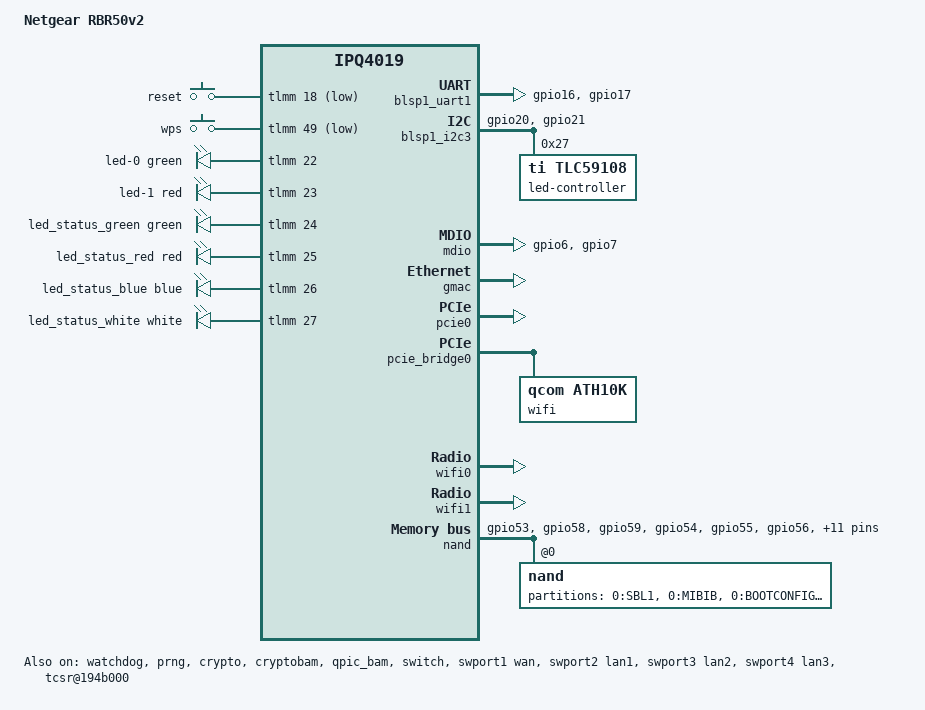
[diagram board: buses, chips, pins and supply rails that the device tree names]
// SPDX-License-Identifier: GPL-2.0-or-later OR MIT
//
// Device Tree Source for Netgear Orbi RBR50 V2 (NAND)
//
// Based on Netgear RBR20 (NAND Orbi) by OpenWrt community.
// V2 uses 512MB SPI NAND (Macronix MX30LF4G18AC-TI) instead of V1's eMMC.
// Key differences from V1: NAND flash, LED GPIOs relocated to 22-27,
// no I2C LED controller on GPIO 58/59 (now QPIC NAND bus).
//
// Hardware: IPQ4019 4x Cortex-A7, 512MB RAM, 512MB NAND
// WiFi: 2x IPQ4019 (2.4GHz + 5GHz) + QCA9984 PCIe (5GHz 4x4 backhaul)
// Ethernet: WAN + 3x LAN (QCA8075 switch)
// GPIO dump source: stock firmware 3.14.77 (2024-09-27)

#include "qcom-ipq4019.dtsi"
#include <dt-bindings/gpio/gpio.h>
#include <dt-bindings/input/input.h>
#include <dt-bindings/soc/qcom,tcsr.h>
#include <dt-bindings/leds/common.h>

/ {
	model = "Netgear RBR50v2";
	compatible = "netgear,rbr50v2";

	chosen {
		stdout-path = "serial0:115200n8";
	};

	aliases {
		serial0 = &blsp1_uart1;
		led-boot = &led_status_white;
		led-failsafe = &led_status_red;
		led-running = &led_status_green;
		led-upgrade = &led_status_blue;
		ethernet0 = &gmac;
		label-mac-device = &gmac;
	};

	keys {
		compatible = "gpio-keys";

		reset {
			label = "reset";
			gpios = <&tlmm 18 GPIO_ACTIVE_LOW>;
			linux,code = <KEY_RESTART>;
		};

		wps {
			label = "wps";
			gpios = <&tlmm 49 GPIO_ACTIVE_LOW>;
			linux,code = <KEY_WPS_BUTTON>;
		};
	};

	leds {
		compatible = "gpio-leds";

		/* GPIOs 22-27 confirmed from V2 stock firmware GPIO dump */

		led-0 {
			function = LED_FUNCTION_POWER;
			color = <LED_COLOR_ID_GREEN>;
			gpios = <&tlmm 22 GPIO_ACTIVE_HIGH>;
			default-state = "on";
		};

		led-1 {
			function = LED_FUNCTION_POWER;
			color = <LED_COLOR_ID_RED>;
			gpios = <&tlmm 23 GPIO_ACTIVE_HIGH>;
			panic-indicator;
		};

		led_status_green: led-2 {
			function = LED_FUNCTION_STATUS;
			color = <LED_COLOR_ID_GREEN>;
			gpios = <&tlmm 24 GPIO_ACTIVE_HIGH>;
		};

		led_status_red: led-3 {
			function = LED_FUNCTION_STATUS;
			color = <LED_COLOR_ID_RED>;
			gpios = <&tlmm 25 GPIO_ACTIVE_HIGH>;
		};

		led_status_blue: led-4 {
			function = LED_FUNCTION_STATUS;
			color = <LED_COLOR_ID_BLUE>;
			gpios = <&tlmm 26 GPIO_ACTIVE_HIGH>;
		};

		led_status_white: led-5 {
			function = LED_FUNCTION_STATUS;
			color = <LED_COLOR_ID_WHITE>;
			gpios = <&tlmm 27 GPIO_ACTIVE_HIGH>;
		};
	};

	soc {
		counter@4a1000 {
			compatible = "qcom,qca-gcnt";
			reg = <0x4a1000 0x4>;
		};

		tcsr@1949000 {
			compatible = "qcom,tcsr";
			reg = <0x1949000 0x100>;
			qcom,wifi_glb_cfg = <TCSR_WIFI_GLB_CFG>;
		};

		tcsr@194b000 {
			status = "okay";

			compatible = "qcom,tcsr";
			reg = <0x194b000 0x100>;
			qcom,usb-hsphy-mode-select = <TCSR_USB_HSPHY_HOST_MODE>;
		};

		ess_tcsr@1953000 {
			compatible = "qcom,tcsr";
			reg = <0x1953000 0x1000>;
			qcom,ess-interface-select = <TCSR_ESS_PSGMII>;
		};

		tcsr@1957000 {
			compatible = "qcom,tcsr";
			reg = <0x1957000 0x100>;
			qcom,wifi_noc_memtype_m0_m2 = <TCSR_WIFI_NOC_MEMTYPE_M0_M2>;
		};
	};
};

&watchdog {
	status = "okay";
};

&prng {
	status = "okay";
};

&crypto {
	status = "okay";
};

&cryptobam {
	status = "okay";
};

&blsp_dma {
	status = "okay";
};

&qpic_bam {
	status = "okay";
};

&tlmm {
	mdio_pins: mdio-pinmux {
		mux_mdio {
			pins = "gpio6";
			function = "mdio";
			bias-pull-up;
		};

		mux_mdc {
			pins = "gpio7";
			function = "mdc";
			bias-pull-up;
		};
	};

	serial_pins: serial-pinmux {
		function = "blsp_uart0";
		pins = "gpio16", "gpio17";
		bias-disable;
	};

	i2c_0_pins: i2c-0-pinmux {
		pins = "gpio20", "gpio21";
		function = "blsp_i2c0";
		bias-disable;
	};

	nand_pins: nand-pins {
		pullups {
			pins = "gpio53", "gpio58", "gpio59";
			function = "qpic";
			bias-pull-up;
		};

		pulldowns {
			pins = "gpio54", "gpio55", "gpio56",
				"gpio57", "gpio60", "gpio61",
				"gpio62", "gpio63", "gpio64",
				"gpio65", "gpio66", "gpio67",
				"gpio68", "gpio69";
			function = "qpic";
			bias-pull-down;
		};
	};
};

&blsp1_uart1 {
	status = "okay";
	pinctrl-0 = <&serial_pins>;
	pinctrl-names = "default";
};

&blsp1_i2c3 {
	status = "okay";
	pinctrl-0 = <&i2c_0_pins>;
	pinctrl-names = "default";

	/* TLC59208F 8-channel LED driver — controls the top ring LED.
	 * Use tlc59108 compatible (register-compatible, in kernel match table).
	 */
	led-controller@27 {
		compatible = "ti,tlc59108";
		reg = <0x27>;
		#address-cells = <1>;
		#size-cells = <0>;

		led_ring_green: led@0 {
			reg = <0x0>;
			function = LED_FUNCTION_INDICATOR;
			color = <LED_COLOR_ID_GREEN>;
		};

		led_ring_red: led@1 {
			reg = <0x1>;
			function = LED_FUNCTION_INDICATOR;
			color = <LED_COLOR_ID_RED>;
		};

		led_ring_blue: led@2 {
			reg = <0x2>;
			function = LED_FUNCTION_INDICATOR;
			color = <LED_COLOR_ID_BLUE>;
		};

		led@3 {
			reg = <0x3>;
			function = LED_FUNCTION_INDICATOR;
			color = <LED_COLOR_ID_WHITE>;
		};

		led@4 {
			reg = <0x4>;
			label = "ring:chan4";
		};

		led@5 {
			reg = <0x5>;
			label = "ring:chan5";
		};

		led@6 {
			reg = <0x6>;
			label = "ring:chan6";
		};

		led@7 {
			reg = <0x7>;
			label = "ring:chan7";
		};
	};
};

&mdio {
	status = "okay";
	pinctrl-0 = <&mdio_pins>;
	pinctrl-names = "default";
};

&gmac {
	status = "okay";

	nvmem-cell-names = "mac-address";
	nvmem-cells = <&mac_address_lan 0>;
};

&switch {
	status = "okay";
};

/* V2 has same port layout as V1: WAN + 3x LAN */
&swport1 {
	status = "okay";

	label = "wan";
	nvmem-cell-names = "mac-address";
	nvmem-cells = <&mac_address_wan 0>;
};

&swport2 {
	status = "okay";

	label = "lan1";
};

&swport3 {
	status = "okay";

	label = "lan2";
};

&swport4 {
	status = "okay";

	label = "lan3";
};

&ethphy4 {
	status = "disabled";
};

&usb3_hs_phy {
	status = "disabled";
};

&usb3 {
	status = "disabled";
};

&usb2_hs_phy {
	status = "disabled";
};

&usb2 {
	status = "disabled";
};

&pcie0 {
	status = "okay";

	perst-gpios = <&tlmm 38 GPIO_ACTIVE_LOW>;
	wake-gpios = <&tlmm 50 GPIO_ACTIVE_LOW>;
};

&pcie_bridge0 {
	wifi@0,0 {
		compatible = "qcom,ath10k";
		reg = <0x00010000 0 0 0 0>;
		/* QCA9984 4x4 — upper 5GHz for backhaul (same as V1) */
		ieee80211-freq-limit = <5470000 5875000>;
		nvmem-cell-names = "pre-calibration", "mac-address";
		nvmem-cells = <&precal_art_9000>, <&mac_address_wlan_2nd5g 0>;
		qcom,ath10k-calibration-variant = "Netgear-Orbi-Pro-SRK60";
	};
};

&wifi0 {
	status = "okay";
	/* IPQ4019 2.4GHz */
	nvmem-cell-names = "pre-calibration", "mac-address";
	nvmem-cells = <&precal_art_1000>, <&mac_address_lan 0>;
	qcom,ath10k-calibration-variant = "Netgear-Orbi-Pro-SRK60";
};

&wifi1 {
	status = "okay";
	/* IPQ4019 5GHz — lower band, client access */
	ieee80211-freq-limit = <5170000 5350000>;
	nvmem-cell-names = "pre-calibration", "mac-address";
	nvmem-cells = <&precal_art_5000>, <&mac_address_wlan_5g 0>;
	qcom,ath10k-calibration-variant = "Netgear-Orbi-Pro-SRK60";
};

/*
 * NAND partition layout — computed from V2 stock /proc/mtd
 * 512MB NAND, 128KB erase blocks, 2048B page size
 *
 * OpenWrt uses the stock "firmware" partition area (50MB):
 * kernel (7MB) + ubi (43MB within firmware partition)
 * Note: firmware2 + reserved areas can be reclaimed later
 */
&nand {
	pinctrl-0 = <&nand_pins>;
	pinctrl-names = "default";
	status = "okay";

	nand@0 {
		partitions {
			compatible = "fixed-partitions";
			#address-cells = <1>;
			#size-cells = <1>;

			partition@0 {
				label = "0:SBL1";
				reg = <0x00000000 0x00100000>;
				read-only;
			};

			partition@100000 {
				label = "0:MIBIB";
				reg = <0x00100000 0x00100000>;
				read-only;
			};

			partition@200000 {
				label = "0:BOOTCONFIG";
				reg = <0x00200000 0x00100000>;
				read-only;
			};

			partition@300000 {
				label = "0:QSEE";
				reg = <0x00300000 0x00100000>;
				read-only;
			};

			partition@400000 {
				label = "0:QSEE_1";
				reg = <0x00400000 0x00100000>;
				read-only;
			};

			partition@500000 {
				label = "0:CDT";
				reg = <0x00500000 0x00080000>;
				read-only;
			};

			partition@580000 {
				label = "0:CDT_1";
				reg = <0x00580000 0x00080000>;
				read-only;
			};

			partition@600000 {
				label = "0:BOOTCONFIG1";
				reg = <0x00600000 0x00080000>;
				read-only;
			};

			partition@680000 {
				label = "0:APPSBLENV";
				reg = <0x00680000 0x00080000>;
			};

			partition@700000 {
				label = "0:APPSBL";
				reg = <0x00700000 0x00200000>;
				read-only;
			};

			partition@900000 {
				label = "0:APPSBL_1";
				reg = <0x00900000 0x00200000>;
				read-only;
			};

			partition@b00000 {
				label = "0:ART";
				reg = <0x00b00000 0x00080000>;
				read-only;

				nvmem-layout {
					compatible = "fixed-layout";
					#address-cells = <1>;
					#size-cells = <1>;

					precal_art_1000: precal@1000 {
						reg = <0x1000 0x2f20>;
					};

					precal_art_5000: precal@5000 {
						reg = <0x5000 0x2f20>;
					};

					precal_art_9000: precal@9000 {
						reg = <0x9000 0x2f20>;
					};
				};
			};

			partition@b80000 {
				label = "0:ART.bak";
				reg = <0x00b80000 0x00080000>;
				read-only;
			};

			partition@c00000 {
				label = "config";
				reg = <0x00c00000 0x00100000>;
				read-only;
			};

			partition@d00000 {
				label = "boarddata1";
				reg = <0x00d00000 0x00080000>;
				read-only;

				nvmem-layout {
					compatible = "fixed-layout";
					#address-cells = <1>;
					#size-cells = <1>;

					mac_address_lan: macaddr@0 {
						compatible = "mac-base";
						reg = <0x0 0x6>;
						#nvmem-cell-cells = <1>;
					};

					mac_address_wan: macaddr@6 {
						compatible = "mac-base";
						reg = <0x6 0x6>;
						#nvmem-cell-cells = <1>;
					};

					mac_address_wlan_5g: macaddr@c {
						compatible = "mac-base";
						reg = <0xc 0x6>;
						#nvmem-cell-cells = <1>;
					};

					mac_address_wlan_2nd5g: macaddr@12 {
						compatible = "mac-base";
						reg = <0x12 0x6>;
						#nvmem-cell-cells = <1>;
					};
				};
			};

			partition@d80000 {
				label = "boarddata2";
				reg = <0x00d80000 0x00040000>;
				read-only;
			};

			partition@dc0000 {
				label = "pot";
				reg = <0x00dc0000 0x00100000>;
				read-only;
			};

			partition@ec0000 {
				label = "boarddata1.bak";
				reg = <0x00ec0000 0x00080000>;
				read-only;
			};

			partition@f40000 {
				label = "boarddata2.bak";
				reg = <0x00f40000 0x00040000>;
				read-only;
			};

			/* V2: 5MB language (RBR20: 3MB) — shifts all following offsets */
			partition@f80000 {
				label = "language";
				reg = <0x00f80000 0x00500000>;
				read-only;
			};

			partition@1480000 {
				label = "cert";
				reg = <0x01480000 0x00080000>;
				read-only;
			};

			partition@1500000 {
				label = "ntgrdata";
				reg = <0x01500000 0x09300000>;
			};

			partition@a800000 {
				label = "kernel";
				reg = <0x0a800000 0x00700000>;
			};

			partition@af00000 {
				label = "ubi";
				reg = <0x0af00000 0x02b00000>;
			};
		};
	};
};
